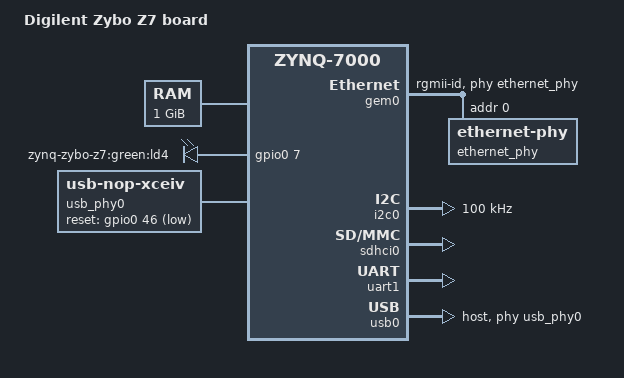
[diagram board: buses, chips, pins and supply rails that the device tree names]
// SPDX-License-Identifier: GPL-2.0+
/dts-v1/;
#include "zynq-7000.dtsi"
#include <dt-bindings/gpio/gpio.h>

/ {
	model = "Digilent Zybo Z7 board";
	compatible = "digilent,zynq-zybo-z7", "xlnx,zynq-7000";

	aliases {
		ethernet0 = &gem0;
		serial0 = &uart1;
		i2c0 = &i2c0;
	};

	memory@0 {
		device_type = "memory";
		reg = <0x0 0x40000000>;
	};

	/*
	 * MiSTer: the upper 512 MB of the DDR belong to the PL (AXI HP ports): SDRAM replacement of
	 * the cores, scaler frame buffers, the menu frame buffer of Main_MiSTer (doc/ARCHITECTURE.md).
	 * Main_MiSTer also uses the hand-over page 0x1FFF_F000 below it (core switch), so the
	 * reservation starts at 0x1FF0_0000; Main_MiSTer maps the region through /dev/mem.
	 */
	reserved-memory {
		#address-cells = <1>;
		#size-cells = <1>;
		ranges;

		mister_pl_ddr: mister@1ff00000 {
			reg = <0x1ff00000 0x20100000>;
			no-map;
		};
	};

	chosen {
		bootargs = "earlycon cma=64M uio_pdrv_genirq.of_id=generic-uio";
		stdout-path = "serial0:115200n8";
	};

	gpio-leds {
		compatible = "gpio-leds","generic-uio";

		led-ld4 {
			label = "zynq-zybo-z7:green:ld4";
			gpios = <&gpio0 7 GPIO_ACTIVE_HIGH>;
		};
	};

	usb_phy0: phy0 {
		#phy-cells = <0>;
		compatible = "usb-nop-xceiv";
		reset-gpios = <&gpio0 46 GPIO_ACTIVE_LOW>;
	};
};

&clkc {
	ps-clk-frequency = <33333333>;
	/* FCLK0 (100 MHz) clocks the whole MiSTer design (MMCMs, AXI-Lite, HP1) but no Linux
	 * driver uses it: without this, clk_disable_unused stops it at the end of the boot */
	fclk-enable = <0x1>;
};

&gem0 {
	status = "okay";
	phy-mode = "rgmii-id";
	phy-handle = <&ethernet_phy>;
	local-mac-address = [00 0a 35 00 00 00];
	ethernet_phy: ethernet-phy@0 {
		reg = <0>;
	};
};

/*
 * PS I2C0 on EMIO: the PL designs route it to the audio codec SSM2603 (address 0x1a, pins N18/N17 of
 * zybo-z7-20_*.xdc). No codec node: the PL is the I2S master, there is no Linux sound card; the codec is
 * configured from user space over /dev/i2c-0 (ssm2603-init.service). Works only with a PL design that
 * has the EMIO pins.
 */
&i2c0 {
	status = "okay";
	clock-frequency = <100000>;
};

&sdhci0 {
	status = "okay";
};

&uart1 {
	status = "okay";
};

&usb0 {
	status = "okay";
	dr_mode = "host";
	usb-phy = <&usb_phy0>;
};
